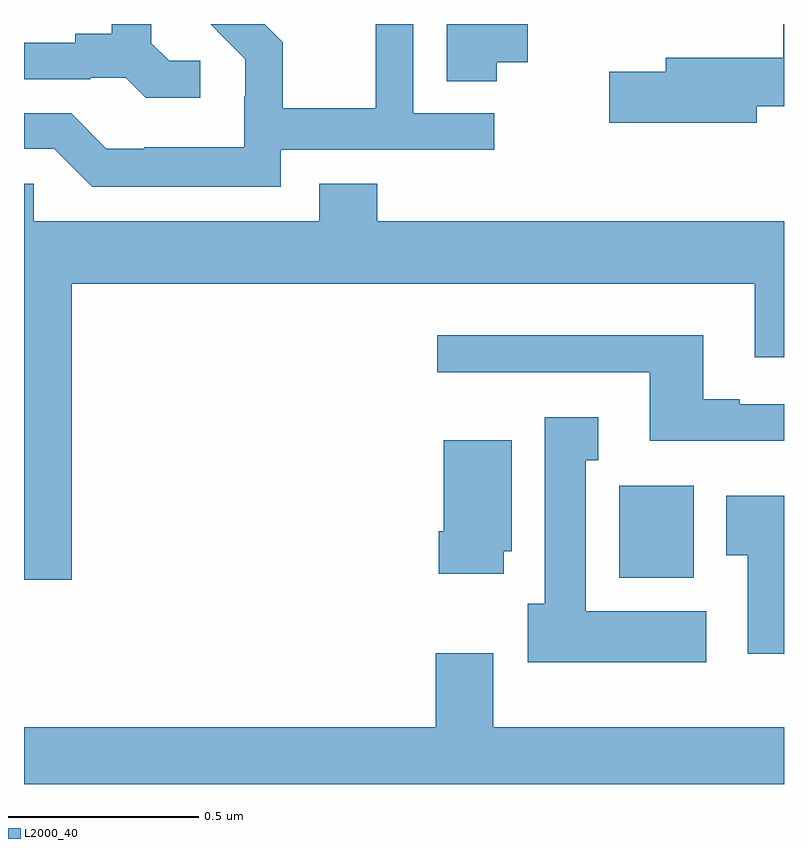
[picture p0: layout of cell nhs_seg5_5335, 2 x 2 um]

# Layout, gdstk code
import gdstk
lib = gdstk.Library(unit=1e-6, precision=1e-09)
def R(c, l, rs):  # rectangles x0, y0, x1, y1
    for r in rs: c.add(gdstk.rectangle(r[:2], r[2:], *l))
def P(c, l, *ps):  # polygons
    for p in ps: c.add(gdstk.Polygon(p, *l))
L2000_40 = (2000, 40)

nhs_seg5_5335 = lib.new_cell('nhs_seg5_5335')
R(nhs_seg5_5335, L2000_40, [(183.566,833.342,183.763,833.584)])
P(nhs_seg5_5335, L2000_40, [(183.244,834.698),(183.325,834.698),(183.325,834.799),(183.113,834.799),(183.113,834.649),(183.244,834.649)],
  [(183.928,834.582),(184,834.582),(184,834.799),(183.998,834.799),(183.998,834.71),(183.689,834.71),(183.689,834.674),(183.54,834.674),(183.54,834.539),(183.928,834.539)],
  [(182.464,834.702),(182.382,834.702),(182.335,834.749),(182.335,834.799),(182.231,834.799),(182.231,834.773),(182.135,834.773),(182.135,834.75),(182,834.75),(182,834.654),(182.174,834.654),(182.174,834.657),(182.268,834.657),(182.32,834.605),(182.464,834.605)],
  [(182.676,834.468),(183.238,834.468),(183.238,834.564),(183.024,834.564),(183.024,834.799),(182.926,834.799),(182.926,834.577),(182.681,834.577),(182.681,834.751),(182.633,834.799),(182.491,834.799),(182.509,834.781),(182.508,834.78),(182.582,834.706),(182.582,834.609),(182.58,834.609),(182.58,834.475),(182.317,834.475),(182.317,834.471),(182.217,834.471),(182.124,834.564),(182,834.564),(182,834.471),(182.079,834.471),(182.179,834.371),(182.676,834.371)],
  [(182.126,834.116),(183.923,834.116),(183.923,833.922),(184,833.922),(184,834.28),(182.93,834.28),(182.93,834.379),(182.777,834.379),(182.777,834.28),(182.025,834.28),(182.025,834.378),(182,834.378),(182,833.337),(182.126,833.337)],
  [(184,833.799),(183.883,833.799),(183.883,833.812),(183.787,833.812),(183.787,833.98),(183.087,833.98),(183.087,833.883),(183.647,833.883),(183.647,833.702),(184,833.702)],
  [(183.796,833.254),(183.478,833.254),(183.478,833.651),(183.511,833.651),(183.511,833.764),(183.371,833.764),(183.371,833.274),(183.326,833.274),(183.326,833.12),(183.796,833.12)],
  [(183.262,833.412),(183.283,833.412),(183.283,833.704),(183.104,833.704),(183.104,833.464),(183.092,833.464),(183.092,833.352),(183.262,833.352)],
  [(184,833.557),(183.848,833.557),(183.848,833.401),(183.905,833.401),(183.905,833.142),(184,833.142)],
  [(183.235,833.143),(183.083,833.143),(183.083,832.948),(182,832.948),(182,832.799),(184,832.799),(184,832.948),(183.235,832.948)])

lib.write_gds('nhs_seg5_5335.gds')
